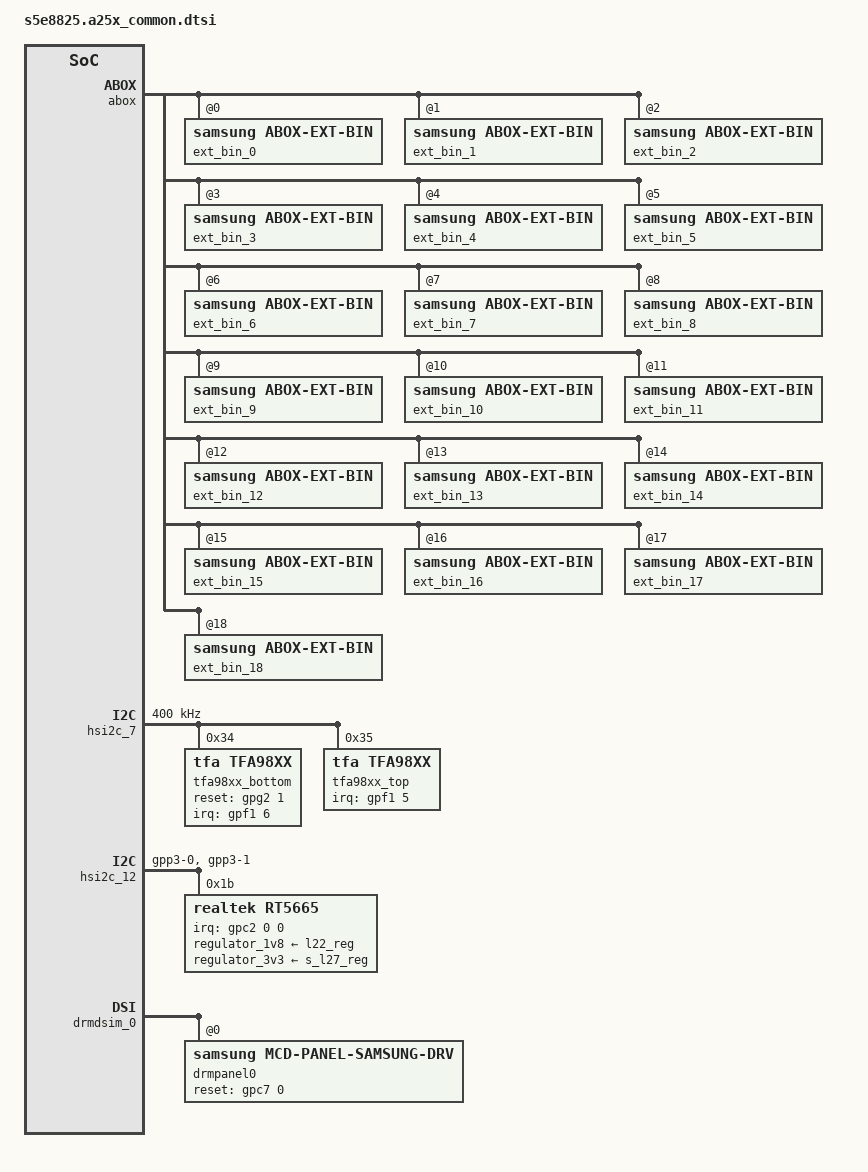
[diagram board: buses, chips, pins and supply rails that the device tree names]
/*
 * SAMSUNG S5E8825 SoC device tree source
 *
 * Copyright (c) 2020 Samsung Electronics Co., Ltd.
 *             http://www.samsung.com
 *
 * SAMSUNG S5E8825 SoC device nodes are listed in this file.
 * EXYNOS based board files can include this file and provide
 * values for board specfic bindings.
 *
 * This program is free software; you can redistribute it and/or modify
 * it under the terms of the GNU General Public License version 2 as
 * published by the Free Software Foundation.
 */

#include "../s5e8825.common.dtsi"
#include "../s5e8825-dsim_pll_timing.dtsi"
#include "../s5e8825_wakeup_cpu_allocator.dtsi"

#define BOARD_ID        0x0
#define BOARD_REV       0x0

/ {
	compatible = "samsung,s5e8825", "samsung,SMDK8825";
	board_id = <BOARD_ID>;
	board_rev = <BOARD_REV>;

	fragment@model {
		target-path = "/";
		__overlay__ {
			#address-cells = <2>;
			#size-cells = <1>;

			sec_usb_cb {
				compatible = "samsung,sec_usb_cb";
				status = "okay";
			};

			sec_usb_hook {
				compatible = "samsung,sec_usb_hook";
				status = "okay";
			};

			dummy_audio_codec: audio-codec-dummy {
				compatible = "snd-soc-dummy";
				#sound-dai-cells = <0>;
			};

			dummy_audio_cpu: audio-cpu-dummy {
				compatible = "samsung,dummy-cpu";
				#sound-dai-cells = <0>;
			};

			abox_synchronized_ipc: abox_synchronized_ipc {
				compatible = "samsung,abox-synchronized-ipc";
				#sound-dai-cells = <1>;
				abox = <&abox>;
			};

			sec-audio-exynos {
				compatible = "samsung,audio-exynos";
				abox_dbg_size_min = <0x600000>;
				abox_slog_size_min = <0x0>;
				status = "okay";
			};

			sec-audio-sysfs {
				compatible = "samsung,audio-sysfs";
				status = "okay";
				/* audio,no-earjack; */
				audio,num-amp = <2>;
			};

			sec-audio-debug {
				compatible = "samsung,audio-debug";
				status = "okay";
			};

			snd-debug-proc {
				compatible = "samsung,snd-debug-proc";
				status = "okay";
			};

			sound {
				compatible = "samsung,exynos8825-rt5665";

				samsung,routing =
					"HEADSETMIC", "MICBIAS1",
					"DMIC1", "MICBIAS2",
					"DMIC2", "MICBIAS3",
					"IN1P", "HEADSETMIC",
					"IN1N", "HEADSETMIC",
					"IN3P", "DMIC1",
					"IN3N", "DMIC1",
					"IN4P", "DMIC2",
					"IN4N", "DMIC2",
					"HEADPHONE", "HPOL",
					"HEADPHONE", "HPOR",
					"BLUETOOTH SPK", "ABOX UAIF3 Playback",
					"ABOX UAIF3 Capture", "BLUETOOTH MIC",
					"USB SPK", "ABOX USB Playback",
					"ABOX USB Capture", "USB MIC",
					"FWD SPK", "ABOX FWD Playback",
					"ABOX FWD Capture", "FWD MIC",
					"VTS Virtual Output", "VTS Virtual Output Mux",
					"ABOX SPDY Capture", "VINPUT_FM";

				samsung,aux = <&abox_effect &abox_tplg>;

				rdma0 {
					cpu {
						sound-dai = <&abox_rdma_0 0>;
					};
					platform {
						sound-dai = <&abox_rdma_0 0>;
					};
				};
				rdma1 {
					cpu {
						sound-dai = <&abox_rdma_1 0>;
					};
					platform {
						sound-dai = <&abox_rdma_1 0>;
					};
				};
				rdma2 {
					cpu {
						sound-dai = <&abox_rdma_2 0>;
					};
					platform {
						sound-dai = <&abox_rdma_2 0>;
					};
				};
				rdma3 {
					cpu {
						sound-dai = <&abox_rdma_3 0>;
					};
					platform {
						sound-dai = <&abox_rdma_3 0>;
					};
				};
				rdma4 {
					cpu {
						sound-dai = <&abox_rdma_4 0>;
					};
					platform {
						sound-dai = <&abox_rdma_4 0>;
					};
				};
				rdma5 {
					cpu {
						sound-dai = <&abox_rdma_5 0>;
					};
					platform {
						sound-dai = <&abox_rdma_5 0>;
					};
				};
				rdma6 {
					cpu {
						sound-dai = <&abox_rdma_6 0>;
					};
					platform {
						sound-dai = <&abox_rdma_6 0>;
					};
				};
				rdma7 {
					cpu {
						sound-dai = <&abox_rdma_7 0>;
					};
					platform {
						sound-dai = <&abox_rdma_7 0>;
					};
				};
				rdma8 {
					cpu {
						sound-dai = <&abox_rdma_8 0>;
					};
					platform {
						sound-dai = <&abox_rdma_8 0>;
					};
				};
				rdma9 {
					cpu {
						sound-dai = <&abox_rdma_9 0>;
					};
					platform {
						sound-dai = <&abox_rdma_9 0>;
					};
				};
				rdma10 {
					cpu {
						sound-dai = <&abox_rdma_10 0>;
					};
					platform {
						sound-dai = <&abox_rdma_10 0>;
					};
				};
				rdma11 {
					cpu {
						sound-dai = <&abox_rdma_11 0>;
					};
					platform {
						sound-dai = <&abox_rdma_11 0>;
					};
				};
				wdma0 {
					cpu {
						sound-dai = <&abox_wdma_0 0>;
					};
					platform {
						sound-dai = <&abox_wdma_0 0>;
					};
				};
				wdma1 {
					cpu {
						sound-dai = <&abox_wdma_1 0>;
					};
					platform {
						sound-dai = <&abox_wdma_1 0>;
					};
				};
				wdma2 {
					cpu {
						sound-dai = <&abox_wdma_2 0>;
					};
					platform {
						sound-dai = <&abox_wdma_2 0>;
					};
				};
				wdma3 {
					cpu {
						sound-dai = <&abox_wdma_3 0>;
					};
					platform {
						sound-dai = <&abox_wdma_3 0>;
					};
				};
				wdma4 {
					cpu {
						sound-dai = <&abox_wdma_4 0>;
					};
					platform {
						sound-dai = <&abox_wdma_4 0>;
					};
				};
				wdma5 {
					cpu {
						sound-dai = <&abox_wdma_5 0>;
					};
					platform {
						sound-dai = <&abox_wdma_5 0>;
					};
				};
				wdma6 {
					cpu {
						sound-dai = <&abox_wdma_6 0>;
					};
					platform {
						sound-dai = <&abox_wdma_6 0>;
					};
				};
				wdma7 {
					cpu {
						sound-dai = <&abox_wdma_7 0>;
					};
					platform {
						sound-dai = <&abox_wdma_7 0>;
					};
				};
				wdma8 {
					cpu {
						sound-dai = <&abox_wdma_8 0>;
					};
					platform {
						sound-dai = <&abox_wdma_8 0>;
					};
				};
				wdma9 {
					cpu {
						sound-dai = <&abox_wdma_9 0>;
					};
					platform {
						sound-dai = <&abox_wdma_9 0>;
					};
				};
				wdma10 {
					cpu {
						sound-dai = <&abox_wdma_10 0>;
					};
					platform {
						sound-dai = <&abox_wdma_10 0>;
					};
				};
				wdma11 {
					cpu {
						sound-dai = <&abox_wdma_11 0>;
					};
					platform {
						sound-dai = <&abox_wdma_11 0>;
					};
				};
				vts0 {
					cpu {
						sound-dai = <&vts 0>;
					};
					platform {
						sound-dai = <&vts_dma0>;
					};
				};
				vts1 {
					cpu {
						sound-dai = <&vts 1>;
					};
					platform {
						sound-dai = <&vts_dma1>;
					};
				};
/*
				dp0_audio {
					cpu {
						sound-dai = <&displayport_adma 0>;
					};
					platform {
						sound-dai = <&dp_dma0>;
					};
				};
				dp1_audio {
					cpu {
						sound-dai = <&displayport_adma 1 >;
					};
					platform {
						sound-dai = <&dp_dma1>;
					};
				};
*/
				dual0 {
					cpu {
						sound-dai = <&abox_dual_0>;
					};
					platform {
						sound-dai = <&abox_dual_0>;
					};
				};
				dual1 {
					cpu {
						sound-dai = <&abox_dual_1>;
					};
					platform {
						sound-dai = <&abox_dual_1>;
					};
				};
				dual2 {
					cpu {
						sound-dai = <&abox_dual_2>;
					};
					platform {
						sound-dai = <&abox_dual_2>;
					};
				};
				dual3 {
					cpu {
						sound-dai = <&abox_dual_3>;
					};
					platform {
						sound-dai = <&abox_dual_3>;
					};
				};
				dual4 {
					cpu {
						sound-dai = <&abox_dual_4>;
					};
					platform {
						sound-dai = <&abox_dual_4>;
					};
				};
				dual5 {
					cpu {
						sound-dai = <&abox_dual_5>;
					};
					platform {
						sound-dai = <&abox_dual_5>;
					};
				};
				dual6 {
					cpu {
						sound-dai = <&abox_dual_6>;
					};
					platform {
						sound-dai = <&abox_dual_6>;
					};
				};
				dual7 {
					cpu {
						sound-dai = <&abox_dual_7>;
					};
					platform {
						sound-dai = <&abox_dual_7>;
					};
				};
				dual8 {
					cpu {
						sound-dai = <&abox_dual_8>;
					};
					platform {
						sound-dai = <&abox_dual_8>;
					};
				};
				dual9 {
					cpu {
						sound-dai = <&abox_dual_9>;
					};
					platform {
						sound-dai = <&abox_dual_9>;
					};
				};
				dual10 {
					cpu {
						sound-dai = <&abox_dual_10>;
					};
					platform {
						sound-dai = <&abox_dual_10>;
					};
				};
				dual11 {
					cpu {
						sound-dai = <&abox_dual_11>;
					};
					platform {
						sound-dai = <&abox_dual_11>;
					};
				};
				ddma0 {
					cpu {
						sound-dai = <&abox_ddma_0>;
					};
					platform {
						sound-dai = <&abox_ddma_0>;
					};
				};
				ddma1 {
					cpu {
						sound-dai = <&abox_ddma_1>;
					};
					platform {
						sound-dai = <&abox_ddma_1>;
					};
				};
				ddma2 {
					cpu {
						sound-dai = <&abox_ddma_2>;
					};
					platform {
						sound-dai = <&abox_ddma_2>;
					};
				};
				ddma3 {
					cpu {
						sound-dai = <&abox_ddma_3>;
					};
					platform {
						sound-dai = <&abox_ddma_3>;
					};
				};
				ddma4 {
					cpu {
						sound-dai = <&abox_ddma_4>;
					};
					platform {
						sound-dai = <&abox_ddma_4>;
					};
				};
				ddma5 {
					cpu {
						sound-dai = <&abox_ddma_5>;
					};
					platform {
						sound-dai = <&abox_ddma_5>;
					};
				};
				uaif0 {
					format = "i2s";
					cpu {
						sound-dai = <&abox_uaif_0>;
					};
					codec {
						sound-dai = <&rt5665 0>;
					};
				};
				uaif1 {
					format = "i2s";
					cpu {
						sound-dai = <&abox_uaif_1>;
					};
					codec {
						sound-dai = <&tfa98xx_bottom 0 &tfa98xx_top 0>;
					};
				};
				uaif2 {
					format = "dsp_a";
					cpu {
						sound-dai = <&abox_uaif_2>;
					};
				};
				uaif3 {
					format = "i2s";
					bitclock-master;
					frame-master;
					cpu {
						sound-dai = <&abox_uaif_3>;
					};
				};
				uaif4 {
					format = "dsp_a";
					cpu {
						sound-dai = <&abox_uaif_4>;
					};
				};
				uaif5 {
					format = "dsp_a";
					cpu {
						sound-dai = <&abox_uaif_5>;
					};
				};
				uaif6 {
					format = "dsp_a";
					bitclock-master;
					bitclock-inversion;
					frame-master;

					cpu {
						sound-dai = <&abox_uaif_6>;
					};
					codec {
						sound-dai = <&vts_s_lif 0>;
					};
				};
				dsif0 {
					format = "pdm";
					cpu {
						sound-dai = <&abox_dsif>;
					};
				};
				spdy {
					cpu {
						sound-dai = <&abox_spdy>;
					};
				};
				udma_rd0 {
					cpu {
						sound-dai = <&abox_udma_rd_0>;
					};
				};
				udma_rd1 {
					cpu {
						sound-dai = <&abox_udma_rd_1>;
					};
				};
				udma_wr0 {
					cpu {
						sound-dai = <&abox_udma_wr_0>;
					};
				};
				udma_wr1 {
					cpu {
						sound-dai = <&abox_udma_wr_1>;
					};
				};
				udma_wr_dual0 {
					cpu {
						sound-dai = <&abox_udma_wr_dual_0>;
					};
				};
				udma_wr_dual1 {
					cpu {
						sound-dai = <&abox_udma_wr_dual_1>;
					};
				};
				udma_wr_dbg0 {
					cpu {
						sound-dai = <&abox_udma_wr_debug_0>;
					};
				};
				rdma0_be {
					cpu {
						sound-dai = <&abox_rdma_0 1>;
					};
					platform {
						sound-dai = <&abox_rdma_0 1>;
					};
				};
				rdma1_be {
					cpu {
						sound-dai = <&abox_rdma_1 1>;
					};
					platform {
						sound-dai = <&abox_rdma_1 1>;
					};
				};
				rdma2_be {
					cpu {
						sound-dai = <&abox_rdma_2 1>;
					};
					platform {
						sound-dai = <&abox_rdma_2 1>;
					};
				};
				rdma3_be {
					cpu {
						sound-dai = <&abox_rdma_3 1>;
					};
					platform {
						sound-dai = <&abox_rdma_3 1>;
					};
				};
				rdma4_be {
					cpu {
						sound-dai = <&abox_rdma_4 1>;
					};
					platform {
						sound-dai = <&abox_rdma_4 1>;
					};
				};
				rdma5_be {
					cpu {
						sound-dai = <&abox_rdma_5 1>;
					};
					platform {
						sound-dai = <&abox_rdma_5 1>;
					};
				};
				rdma6_be {
					cpu {
						sound-dai = <&abox_rdma_6 1>;
					};
					platform {
						sound-dai = <&abox_rdma_6 1>;
					};
				};
				rdma7_be {
					cpu {
						sound-dai = <&abox_rdma_7 1>;
					};
					platform {
						sound-dai = <&abox_rdma_7 1>;
					};
				};
				rdma8_be {
					cpu {
						sound-dai = <&abox_rdma_8 1>;
					};
					platform {
						sound-dai = <&abox_rdma_8 1>;
					};
				};
				rdma9_be {
					cpu {
						sound-dai = <&abox_rdma_9 1>;
					};
					platform {
						sound-dai = <&abox_rdma_9 1>;
					};
				};
				rdma10_be {
					cpu {
						sound-dai = <&abox_rdma_10 1>;
					};
					platform {
						sound-dai = <&abox_rdma_10 1>;
					};
				};
				rdma11_be {
					cpu {
						sound-dai = <&abox_rdma_11 1>;
					};
					platform {
						sound-dai = <&abox_rdma_11 1>;
					};
				};
				wdma0_be {
					cpu {
						sound-dai = <&abox_wdma_0 1>;
					};
					platform {
						sound-dai = <&abox_wdma_0 1>;
					};
				};
				wdma1_be {
					cpu {
						sound-dai = <&abox_wdma_1 1>;
					};
					platform {
						sound-dai = <&abox_wdma_1 1>;
					};
				};
				wdma2_be {
					cpu {
						sound-dai = <&abox_wdma_2 1>;
					};
					platform {
						sound-dai = <&abox_wdma_2 1>;
					};
				};
				wdma3_be {
					cpu {
						sound-dai = <&abox_wdma_3 1>;
					};
					platform {
						sound-dai = <&abox_wdma_3 1>;
					};
				};
				wdma4_be {
					cpu {
						sound-dai = <&abox_wdma_4 1>;
					};
					platform {
						sound-dai = <&abox_wdma_4 1>;
					};
				};
				wdma5_be {
					cpu {
						sound-dai = <&abox_wdma_5 1>;
					};
					platform {
						sound-dai = <&abox_wdma_5 1>;
					};
				};
				wdma6_be {
					cpu {
						sound-dai = <&abox_wdma_6 1>;
					};
					platform {
						sound-dai = <&abox_wdma_6 1>;
					};
				};
				wdma7_be {
					cpu {
						sound-dai = <&abox_wdma_7 1>;
					};
					platform {
						sound-dai = <&abox_wdma_7 1>;
					};
				};
				wdma8_be {
					cpu {
						sound-dai = <&abox_wdma_8 1>;
					};
					platform {
						sound-dai = <&abox_wdma_8 1>;
					};
				};
				wdma9_be {
					cpu {
						sound-dai = <&abox_wdma_9 1>;
					};
					platform {
						sound-dai = <&abox_wdma_9 1>;
					};
				};
				wdma10_be {
					cpu {
						sound-dai = <&abox_wdma_10 1>;
					};
					platform {
						sound-dai = <&abox_wdma_10 1>;
					};
				};
				wdma11_be {
					cpu {
						sound-dai = <&abox_wdma_11 1>;
					};
					platform {
						sound-dai = <&abox_wdma_11 1>;
					};
				};
				usb {
					cpu {
						sound-dai = <&abox 0>;
					};
				};
				fwd {
					cpu {
						sound-dai = <&abox 1>;
					};
				};
			}; /* end of sound */

			fm@14E90000 {
				elna_gpio;
				pinctrl-names;
				pinctrl-0;
				without_elna = <1>;
			};
		};
	};
};

&abox {
	ext_bin_0: ext-bin@0 {
		compatible = "samsung,abox-ext-bin";
		samsung,name = "dax_param.bin";
		samsung,area = <1>;
		samsung,offset = <0x510000>;
		samsung,changable;
	};

	ext_bin_1: ext-bin@1 {
		compatible = "samsung,abox-ext-bin";
		samsung,name = "AP_AUDIO_SLSI.bin";
		samsung,area = <1>;
		samsung,offset = <0x52e000>;
		samsung,changable;
	};

	ext_bin_2: ext-bin@2 {
		compatible = "samsung,abox-ext-bin";
		samsung,name = "APBargeIn_AUDIO_SLSI.bin";
		samsung,area = <1>;
		samsung,offset = <0x5da800>;
		samsung,changable;
	};

	ext_bin_3: ext-bin@3 {
		compatible = "samsung,abox-ext-bin";
		samsung,name = "APBiBF_AUDIO_SLSI.bin";
		samsung,area = <1>;
		samsung,offset = <0x5dd800>;
		samsung,changable;
	};

	ext_bin_4: ext-bin@4 {
		compatible = "samsung,abox-ext-bin";
		samsung,name = "APDV_AUDIO_SLSI.bin";
		samsung,area = <1>;
		samsung,offset = <0x5de800>;
		samsung,changable;
	};

	ext_bin_5: ext-bin@5 {
		compatible = "samsung,abox-ext-bin";
		samsung,name = "SoundBoosterParam.bin";
		samsung,area = <1>;
		samsung,offset = <0x65e800>;
		samsung,changable;
	};

	ext_bin_6: ext-bin@6 {
		compatible = "samsung,abox-ext-bin";
		samsung,name = "atune.bin";
		samsung,area = <1>;
		samsung,offset = <0x662800>;
		samsung,changable;
	};

	ext_bin_7: ext-bin@7 {
		compatible = "samsung,abox-ext-bin";
		samsung,name = "rxse.bin";
		samsung,area = <1>;
		samsung,offset = <0x6c5000>;
	};

	ext_bin_8: ext-bin@8 {
		compatible = "samsung,abox-ext-bin";
		samsung,name = "avsyncmix.bin";
		samsung,area = <1>;
		samsung,offset = <0x7b7800>;
	};

	ext_bin_9: ext-bin@9 {
		compatible = "samsung,abox-ext-bin";
		samsung,name = "txse1.bin";
		samsung,area = <1>;
		samsung,offset = <0x1800000>;
	};

	ext_bin_10: ext-bin@10 {
		compatible = "samsung,abox-ext-bin";
		samsung,name = "txse2.bin";
		samsung,area = <1>;
		samsung,offset = <0x1e00000>;
	};

	ext_bin_11: ext-bin@11 {
		compatible = "samsung,abox-ext-bin";
		samsung,name = "bidirmic.bin";
		samsung,area = <1>;
		samsung,offset = <0x1e72800>;
	};

	ext_bin_12: ext-bin@12 {
		compatible = "samsung,abox-ext-bin";
		samsung,name = "volumemonitor.bin";
		samsung,area = <1>;
		samsung,offset = <0x1f27800>;
	};

	ext_bin_13: ext-bin@13 {
		compatible = "samsung,abox-ext-bin";
		samsung,name = "sb_others.bin";
		samsung,area = <1>;
		samsung,offset = <0x1f40800>;
	};

	ext_bin_14: ext-bin@14 {
		compatible = "samsung,abox-ext-bin";
		samsung,name = "listenbackeffect.bin";
		samsung,area = <1>;
		samsung,offset = <0x206c800>;
	};

	ext_bin_15: ext-bin@15 {
		compatible = "samsung,abox-ext-bin";
		samsung,name = "a2dpcom.bin";
		samsung,area = <1>;
		samsung,offset = <0x20d0800>;
	};

	ext_bin_16: ext-bin@16 {
		compatible = "samsung,abox-ext-bin";
		samsung,name = "dolby.bin";
		samsung,area = <1>;
		samsung,offset = <0x2c0000>;
	};

	ext_bin_17: ext-bin@17 {
		compatible = "samsung,abox-ext-bin";
		samsung,name = "tfa9878.bin";
		samsung,area = <1>;
		samsung,offset = <0x1480000>;
	};

	ext_bin_18: ext-bin@18 {
		compatible = "samsung,abox-ext-bin";
		samsung,name = "sb_music.bin";
		samsung,area = <1>;
		samsung,offset = <0x2250800>;
	};
};

&abox_uaif_2 {
	pinctrl-names;
};

&abox_uaif_3 {
	pinctrl-names;
};

&pinctrl_6 {
	amp_en: amp-en {
		samsung,pins ="gpg2-1";
		samsung,pin-function = <1>;
		samsung,pin-val = <1>;
		samsung,pin-pud = <0>;
		samsung,pin-con-pdn = <3>;
		samsung,pin-pud-pdn = <0>;
	};
};

&pinctrl_4 {
	rcv_amp_int: rcv-amp-int {
		samsung,pins ="gpf1-5";
		samsung,pin-function = <0xf>;
		samsung,pin-pud = <0>;
		samsung,pin-pud-pdn = <0>;
	};

	spk_amp_int: spk-amp-int {
		samsung,pins ="gpf1-6";
		samsung,pin-function = <0xf>;
		samsung,pin-pud = <0>;
		samsung,pin-pud-pdn = <0>;
	};
};

&hsi2c_7 {
	#address-cells = <1>;
	#size-cells = <0>;
	status = "okay";
	clock-frequency = <400000>;

	tfa98xx_bottom: tfa98xx@34 {
		#sound-dai-cells = <1>;
		compatible = "tfa,tfa98xx";
		reg = <0x34>;

		pinctrl-names = "default";
		pinctrl-0 = <&amp_en &spk_amp_int>;

		reset-gpio = <&gpg2 1 0>;
		irq-gpio = <&gpf1 6 0>;

		dummy-cal = <5800>;
	};

	tfa98xx_top: tfa98xx@35 {
		#sound-dai-cells = <1>;
		compatible = "tfa,tfa98xx";
		reg = <0x35>;

		pinctrl-names = "default";
		pinctrl-0 = <&rcv_amp_int>;

		irq-gpio = <&gpf1 5 0>;

		dummy-cal = <6200>;
	};
};

&pinctrl_0 {
	codec_irq: codec-irq {
		samsung,pins = "gpc2-0";
		samsung,pin-function = <0xf>;
		samsung,pin-pud = <0>;
		samsung,pin-pud-pdn = <0>;
	};
};

&pinctrl_6 {
	codec_i2c: codec-i2c {
		samsung,pins = "gpp3-0", "gpp3-1";
		samsung,pin-function = <2>;
		samsung,pin-pud = <3>;
		samsung,pin-drv = <0>;
		samsung,pin-pud-pdn = <3>;
		samsung,pin-con-pdn = <3>;
	};
};

&hsi2c_12 {
	#address-cells = <1>;
	#size-cells = <0>;
	status = "okay";

	pinctrl-names = "default";
	pinctrl-0 = <&codec_i2c>;

	rt5665: rt5665@1b {
		#sound-dai-cells = <1>;

		compatible = "realtek,rt5665";
		reg = <0x1b>;

		pinctrl-names = "default";
		pinctrl-0 = <&codec_irq>;
		interrupt-parent = <&gpc2>;
		interrupts = <0 0 0>;

		realtek,in1-differential;
		realtek,in3-differential;
		realtek,in4-differential;
		realtek,jd-src = <2>;
		realtek,mic-check-in-bg;
		realtek,dmic2-data-pin =<2>;
		realtek,sar-hs-type = <700>;
		realtek,sar-pb-vth0 = <95>;
		realtek,sar-pb-vth1 = <139>;
		realtek,sar-pb-vth2 = <246>;
		realtek,sar-pb-vth3 = <580>;
		imp_table = <
			/*min max gain bias*/
			0x0000 0x000d 3 6 // 8 ohm
			0x000e 0x0019 1 6 // 16 ohm
			0x001a 0x0035 0 6 // 32 ohm
			0x0036 0x0067 0 6 // 64 ohm
			0x0068 0xffff 0 6 // > 100 ohm
		>;

		realtek,offset-comp = <0x0078 0x0090 0x00b0 0x00c0
					0x00f0 0x0110 0x0130 0x0180
					0x01e0 0x0200 0x02a0 0x0300
					0x03a0 0x0400 0x0500 0x0600>;
		realtek,offset-comp-r = <0x001a 0x001f 0x0020 0x002a
					0x0030 0x0040 0x0050 0x0060
					0x006f 0x007f 0x00a0 0x00b0
					0x00cf 0x0100 0x0120 0x0160>;

		regulator_1v8-supply = <&l22_reg>;
		regulator_3v3-supply = <&s_l27_reg>;
	};
};

&pinctrl_6 {
	fm-lna-en {
		samsung,pins = "gpp3-5";
		samsung,pin-function = <1>;
		samsung,pin-pud = <0>;
		samsung,pin-con-pdn = <0>;
	};
};

&drmdecon0{
		/* S6E3FC3 mdnie multi cmd make 2A/2B cmd mismatch. */
		partial-update = <0>;
};

&drmdsim_0 {
	#address-cells = <1>;
	#size-cells = <0>;

	hs_pll_timing = <&dsim_hs_pll_timing>;

	drmpanel0: drmpanel {
		compatible = "samsung,mcd-panel-samsung-drv";
		/* reset, power */
		reset-gpios = <&gpc7 0 GPIO_ACTIVE_HIGH>;
		reg = <0>;
	};
};

&dwmmc_2 {
	card-detect-invert;
	sec-sd-slot-type = <3>;
};
